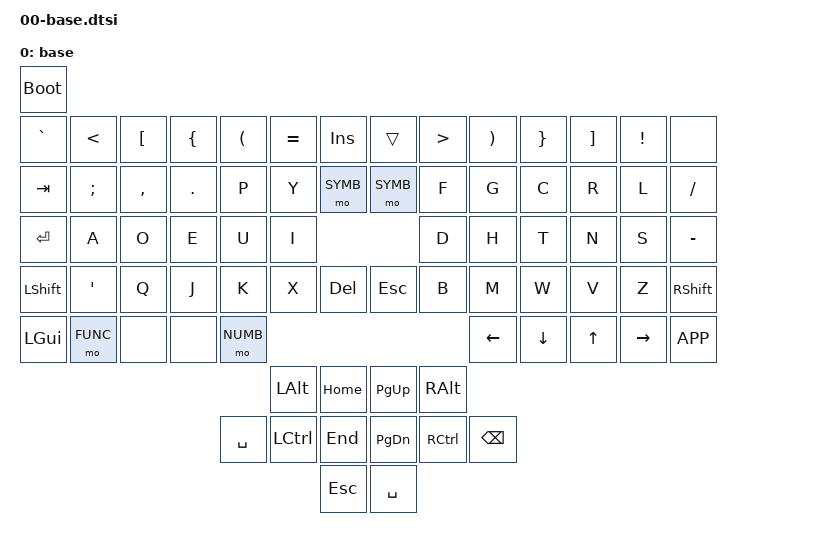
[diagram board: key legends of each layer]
/ {
  keymap {
    compatible = "zmk,keymap";

    // https://zmk.dev/docs/codes

    base { // BASE
      bindings = <
        &bootloader
        &kp GRAVE &kp LT      &kp LBKT     &kp LBRC     &kp LPAR          &kp EQUAL       &kp INSERT         &trans          &kp GT       &kp RPAR     &kp RBRC     &kp RBKT     &kp EXCL      &none
        &kp TAB   &kp SEMI    &kp COMMA    &kp DOT      &kp P             &kp Y           &mo SYMB           &mo SYMB        &kp F        &kp G        &kp C        &kp R        &kp L         &kp FSLH
        &kp ENTER &kp A       &kp O        &kp E        &kp U             &kp I                                              &kp D        &kp H        &kp T        &kp N        &kp S         &kp MINUS
        &kp LSHFT &kp APOS    &kp Q        &kp J        &kp K             &kp X           &kp DEL            &kp ESC         &kp B        &kp M        &kp W        &kp V        &kp Z         &kp RSHFT
        &kp LGUI  &mo FUNC    &none        &none        &mo NUMB                                                                          &kp LEFT     &kp DOWN     &kp UP       &kp RIGHT     &kp K_APP
                                                                          &kp LALT        &kp HOME           &kp PG_UP       &kp RALT
                                                        &kp SPACE         &kp LCTRL       &kp END            &kp PG_DN       &kp RCTRL    &kp BSPC
                                                                                          &kp ESC            &kp SPACE
      >;
    };
  };
};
